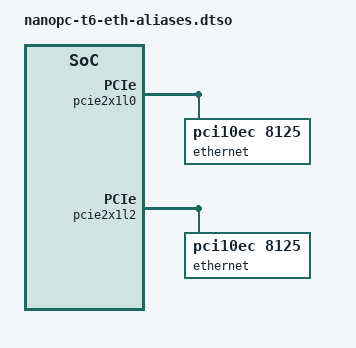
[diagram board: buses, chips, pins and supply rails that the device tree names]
// SPDX-License-Identifier: (GPL-2.0+ OR MIT)
/*
 * NanoPC-T6 (RK3588) — describe the two onboard RTL8125 2.5G controllers and
 * alias them to ethernet0/ethernet1 so U-Boot's fdt_fixup_ethernet() writes the
 * eFuse-derived MAC into each node before Linux probes.
 *
 * Mapping (verified vs rk3588-base/extra.dtsi + board schematic):
 *   ethernet0 -> &pcie2x1l2 == /pcie@fe190000  (domain 4, bus 0x40-0x4f) LAN A / U10
 *   ethernet1 -> &pcie2x1l0 == /pcie@fe170000  (domain 2, bus 0x20-0x2f) LAN B / U12
 *
 * IMPORTANT: the aliases use the *explicit final path* of each ethernet node,
 * NOT a label reference (&label). A label reference to a node defined inside an
 * overlay compiles to the fragment path (/fragment@N/__overlay__/...), which
 * does not exist in the merged tree — U-Boot's MAC fixup then fails with
 * FDT_ERR_NOTFOUND. The path below matches where the node is attached under
 * &pcie2x1l0 / &pcie2x1l2 (root-level pcie@fe1x0000 nodes on mainline RK3588).
 *
 * Requires a base DTB built with symbols (dtc -@) and U-Boot with
 * CONFIG_OF_LIBFDT_OVERLAY.
 */

/dts-v1/;
/plugin/;

&{/aliases} {
	ethernet0 = "/pcie@fe190000/pcie@0,0/ethernet@0,0";
	ethernet1 = "/pcie@fe170000/pcie@0,0/ethernet@0,0";
};

/* LAN B (U12) - pcie2x1l0, domain 2, secondary bus 0x21 */
&pcie2x1l0 {
	#address-cells = <3>;
	#size-cells = <2>;

	pcie@0,0 {
		reg = <0x00200000 0 0 0 0>;
		#address-cells = <3>;
		#size-cells = <2>;
		ranges;
		device_type = "pci";
		bus-range = <0x21 0x2f>;

		ethernet@0,0 {
			reg = <0x00210000 0 0 0 0>;
			compatible = "pci10ec,8125";
			device_type = "network";
			mac-address = [ 00 00 00 00 00 00 ]; /* patched by U-Boot */
		};
	};
};

/* LAN A (U10) - pcie2x1l2, domain 4, secondary bus 0x41 */
&pcie2x1l2 {
	#address-cells = <3>;
	#size-cells = <2>;

	pcie@0,0 {
		reg = <0x00400000 0 0 0 0>;
		#address-cells = <3>;
		#size-cells = <2>;
		ranges;
		device_type = "pci";
		bus-range = <0x41 0x4f>;

		ethernet@0,0 {
			reg = <0x00410000 0 0 0 0>;
			compatible = "pci10ec,8125";
			device_type = "network";
			mac-address = [ 00 00 00 00 00 00 ]; /* patched by U-Boot */
		};
	};
};
